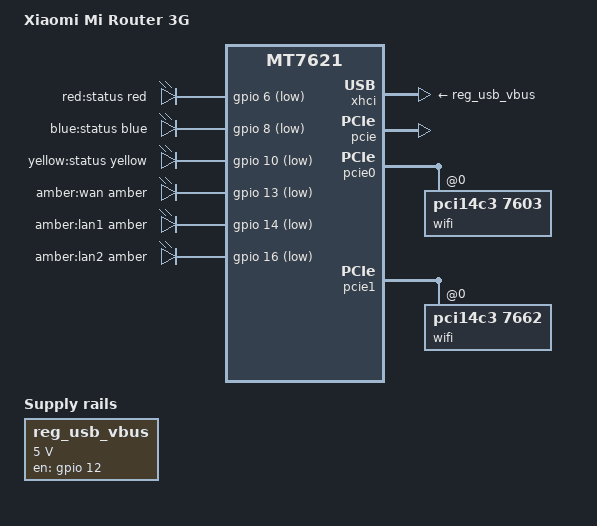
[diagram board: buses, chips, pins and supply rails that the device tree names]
#include "mt7621_xiaomi_nand_128m.dtsi"
#include <dt-bindings/leds/common.h>

/ {
	compatible = "xiaomi,mi-router-3g", "mediatek,mt7621-soc";
	model = "Xiaomi Mi Router 3G";

	aliases {
		led-boot = &led_status_yellow;
		led-failsafe = &led_status_red;
		led-running = &led_status_blue;
		led-upgrade = &led_status_yellow;
		label-mac-device = &gmac0;
	};

	leds {
		compatible = "gpio-leds";

		led_status_red: led-0 {
			label = "red:status";
			color = <LED_COLOR_ID_RED>;
			function = LED_FUNCTION_STATUS;
			gpios = <&gpio 6 GPIO_ACTIVE_LOW>;
		};

		led_status_blue: led-1 {
			label = "blue:status";
			color = <LED_COLOR_ID_BLUE>;
			function = LED_FUNCTION_STATUS;
			gpios = <&gpio 8 GPIO_ACTIVE_LOW>;
		};

		led_status_yellow: led-2 {
			label = "yellow:status";
			color = <LED_COLOR_ID_YELLOW>;
			function = LED_FUNCTION_STATUS;
			gpios = <&gpio 10 GPIO_ACTIVE_LOW>;
		};

		led-3 {
			label = "amber:wan";
			color = <LED_COLOR_ID_AMBER>;
			function = LED_FUNCTION_WAN;
			gpios = <&gpio 13 GPIO_ACTIVE_LOW>;
			linux,default-trigger = "mt7530-0:01:1Gbps";
		};

		led-4 {
			label = "amber:lan1";
			color = <LED_COLOR_ID_AMBER>;
			function = LED_FUNCTION_LAN;
			function-enumerator = <1>;
			gpios = <&gpio 14 GPIO_ACTIVE_LOW>;
			linux,default-trigger = "mt7530-0:03:1Gbps";
		};

		led-5 {
			label = "amber:lan2";
			color = <LED_COLOR_ID_AMBER>;
			function = LED_FUNCTION_LAN;
			function-enumerator = <2>;
			gpios = <&gpio 16 GPIO_ACTIVE_LOW>;
			linux,default-trigger = "mt7530-0:02:1Gbps";
		};
	};

	reg_usb_vbus: regulator {
		compatible = "regulator-fixed";
		regulator-name = "usb_vbus";
		regulator-min-microvolt = <5000000>;
		regulator-max-microvolt = <5000000>;
		gpio = <&gpio 12 GPIO_ACTIVE_HIGH>;
		enable-active-high;
	};
};

&xhci {
	vbus-supply = <&reg_usb_vbus>;
};

&pcie {
	status = "okay";
};

&pcie0 {
	wifi@0,0 {
		compatible = "pci14c3,7603";
		reg = <0x0000 0 0 0 0>;
		mediatek,mtd-eeprom = <&factory 0x0000>;
		ieee80211-freq-limit = <2400000 2500000>;
	};
};

&pcie1 {
	wifi@0,0 {
		compatible = "pci14c3,7662";
		reg = <0x0000 0 0 0 0>;
		mediatek,mtd-eeprom = <&factory 0x8000>;
		ieee80211-freq-limit = <5000000 6000000>;
	};
};

&gmac0 {
	nvmem-cells = <&macaddr_factory_e006>;
	nvmem-cell-names = "mac-address";
};

&switch0 {
	ports {
		port@1 {
			status = "okay";
			label = "wan";
			nvmem-cells = <&macaddr_factory_e000>;
			nvmem-cell-names = "mac-address";
		};

		port@2 {
			status = "okay";
			label = "lan2";
		};

		port@3 {
			status = "okay";
			label = "lan1";
		};
	};
};

&state_default {
	gpio {
		groups = "jtag", "uart2", "uart3", "wdt";
		function = "gpio";
	};
};

&factory {
	compatible = "nvmem-cells";
	#address-cells = <1>;
	#size-cells = <1>;

	macaddr_factory_e000: macaddr@e000 {
		reg = <0xe000 0x6>;
	};

	macaddr_factory_e006: macaddr@e006 {
		reg = <0xe006 0x6>;
	};
};
